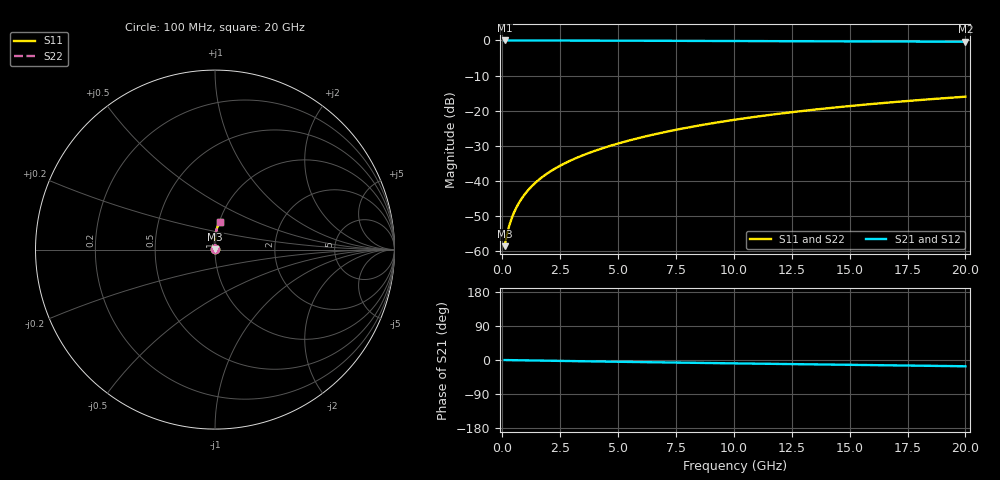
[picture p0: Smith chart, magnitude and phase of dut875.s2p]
! Touchstone file exported from HFSS 2024.1.0
!  File:  C:/UserFiles/LocalFiles/RDL_TSV_Batchsim/temp_RDL_bottom_875_1779865215.aedt
!  Generated:  03:02:31 PM May 27, 2026
!  Design:  RDL_bottom
!  Project:  temp_RDL_bottom_875_1779865215
!  Setup:  Setup1
!  Solution:  Sweep
! Variables:
!  dtsv = 10.80580581um
!  hbump = 3um
!  htsv = 78.45um
!  ldown = 230.59um
!  lrdl = 100um
!  p = 40
!  p1 = 45.45um
!  rhole = 1um
!  t = 450um
!  tdown = 4.68um
!  trdl = 3.915915916um
!  wdown = 23.67um
!  wrdl = 20um
# GHz S MA R 50.000000
! Terminal data exported
! Port[1] = RDL1_T1
! Port[2] = RDL1_T2
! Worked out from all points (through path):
!   200 points, 100 MHz to 20 GHz, reference 50 ohm
!   highest |S21| = -0.01 dB at 100 MHz (marker M1); lowest = -0.4 dB at 20 GHz (marker M2)
!   group delay of S21, straight-line fit = 2.27 ps
!   lowest |S11| = -58.6 dB at 100 MHz (marker M3), VSWR 1.00, Z = 50.1 + j0.0735 ohm
!   |S11| at or under -10 dB: start of sweep to end of sweep
!   |S22| runs from -58.6 to -16.0 dB; largest |S21 - S12| = 5e-15
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0.1  0.001172 38.8  0.9991 -0.1  0.9991 -0.1  0.001172 38.8
! Gamma 0 0 0 0
! Port Impedance 50 0 50 0
0.2  0.001716 55.4  0.999 -0.2  0.999 -0.2  0.001716 55.4
0.3  0.002296 63.7  0.9989 -0.3  0.9989 -0.3  0.002296 63.7
0.4  0.002889 68.9  0.9989 -0.4  0.9989 -0.4  0.002889 68.9
0.5  0.003494 72.5  0.9988 -0.5  0.9988 -0.5  0.003494 72.5
0.6  0.004108 75.1  0.9987 -0.6  0.9987 -0.6  0.004108 75.1
0.8  0.005357 78.8  0.9986 -0.8  0.9986 -0.8  0.005357 78.8
1.1  0.007263 82.0  0.9984 -1.1  0.9984 -1.1  0.007263 82.0
1.5  0.009843 84.5  0.998 -1.5  0.998 -1.5  0.009843 84.5
1.8  0.0118 85.8  0.9977 -1.7  0.9977 -1.7  0.0118 85.8
2.1  0.01377 86.8  0.9973 -2.0  0.9973 -2.0  0.01377 86.8
2.7  0.01777 88.1  0.9964 -2.6  0.9964 -2.6  0.01777 88.1
3.5  0.02324 89.4  0.995 -3.3  0.995 -3.3  0.02324 89.4
4.2  0.02817 90.1  0.9935 -4.0  0.9935 -4.0  0.02817 90.1
5  0.03398 90.6  0.9917 -4.7  0.9917 -4.7  0.03398 90.6
6.8  0.04772 90.9  0.9874 -6.3  0.9874 -6.3  0.04772 90.9
8.4  0.06057 90.4  0.9834 -7.6  0.9834 -7.6  0.06058 90.4
10.1  0.07467 89.4  0.9794 -9.0  0.9794 -9.0  0.07468 89.4
11.7  0.08817 88.1  0.9757 -10.2  0.9757 -10.2  0.08818 88.1
13.4  0.1026 86.6  0.9719 -11.5  0.9719 -11.5  0.1026 86.6
16.7  0.1305 83.6  0.9649 -14.1  0.9649 -14.1  0.1305 83.6
20  0.1579 80.4  0.958 -16.6  0.958 -16.6  0.1579 80.4
